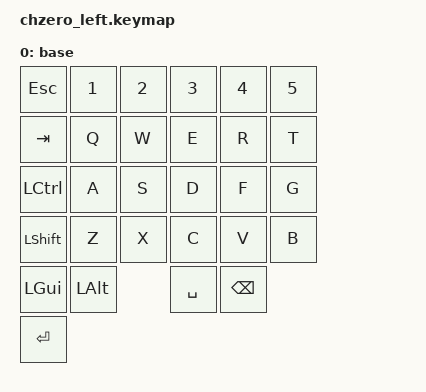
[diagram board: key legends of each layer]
#include <behaviors.dtsi>
#include <dt-bindings/zmk/keys.h>

/ {
    keymap {
        compatible = "zmk,keymap";
        base {
            // Front view: four rows, four thumbs, then the blue switch.
            bindings = <
                &kp ESC    &kp N1 &kp N2 &kp N3 &kp N4 &kp N5
                &kp TAB    &kp Q  &kp W  &kp E  &kp R  &kp T
                &kp LCTRL  &kp A  &kp S  &kp D  &kp F  &kp G
                &kp LSHFT  &kp Z  &kp X  &kp C  &kp V  &kp B
                &kp LGUI   &kp LALT &kp SPACE &kp BSPC
                &kp ENTER
            >;
        };
    };
};
